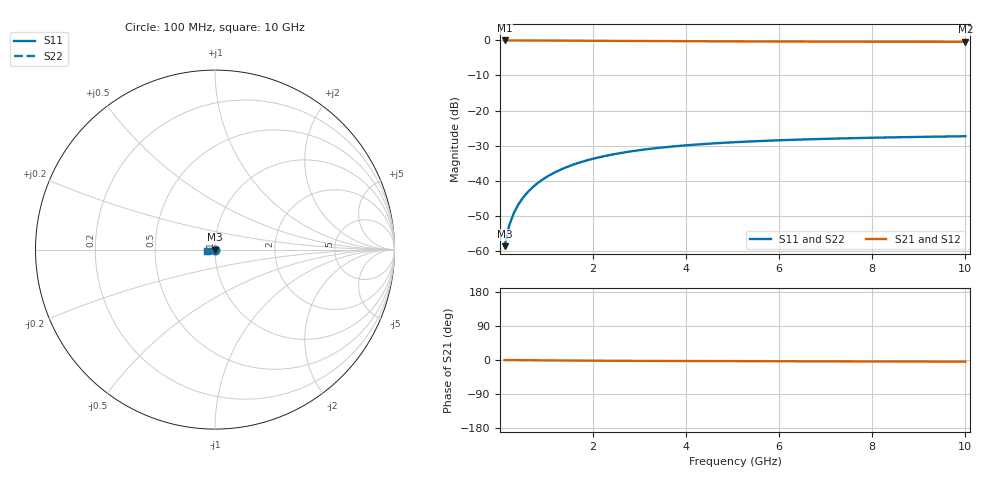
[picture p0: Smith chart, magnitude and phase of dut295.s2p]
! Touchstone file exported from HFSS 2024.1.0
!  File:  C:/UserFiles/LocalFiles/RDL_TSV_Batchsim/temp_TSV1_295_1779394678.aedt
!  Generated:  04:22:43 AM May 22, 2026
!  Design:  TSV1
!  Project:  temp_TSV1_295_1779394678
!  Setup:  Setup1
!  Solution:  Sweep
! Variables:
!  dtsv = 11.17um
!  hbump = 3um
!  htsv = 65.91um
!  lrdl = 252.1521522um
!  p = 40
!  p1 = 45.47um
!  t = 500um
!  trdl = 3um
!  wrdl = 24.89489489um
# GHz S MA R 50.000000
! Terminal data exported
! Port[1] = TSV22_T1
! Port[2] = TSV22_T2
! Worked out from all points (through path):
!   100 points, 100 MHz to 10 GHz, reference 50 ohm
!   highest |S21| = 0.00 dB at 100 MHz (marker M1); lowest = -0.4 dB at 10 GHz (marker M2)
!   lowest |S11| = -58.7 dB at 100 MHz (marker M3), VSWR 1.00, Z = 50 - j0.116 ohm
!   |S11| at or under -10 dB: start of sweep to end of sweep
!   |S22| runs from -58.7 to -27.3 dB; largest |S21 - S12| = 6e-15
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0.1  0.001158 -86.4  0.9999 -0.1  0.9999 -0.1  0.001158 -86.4
! Gamma 0 0 0 0
! Port Impedance 50 0 50 0
0.2  0.00231 -90.5  0.9997 -0.2  0.9997 -0.2  0.00231 -90.5
0.3  0.003464 -92.9  0.9996 -0.3  0.9996 -0.3  0.003464 -92.9
0.4  0.004613 -94.9  0.9993 -0.4  0.9993 -0.4  0.004613 -94.9
0.5  0.005755 -96.8  0.999 -0.5  0.999 -0.5  0.005755 -96.8
0.6  0.006886 -98.6  0.9986 -0.6  0.9986 -0.6  0.006886 -98.6
0.7  0.008002 -100.3  0.9982 -0.7  0.9982 -0.7  0.008002 -100.3
0.8  0.009101 -102.0  0.9978 -0.8  0.9978 -0.8  0.009101 -102.0
0.9  0.01018 -103.7  0.9972 -0.9  0.9972 -0.9  0.01018 -103.7
1.1  0.01228 -106.8  0.9961 -1.1  0.9961 -1.1  0.01228 -106.8
1.4  0.01525 -111.4  0.9941 -1.4  0.9941 -1.4  0.01525 -111.4
1.6  0.0171 -114.3  0.9926 -1.5  0.9926 -1.5  0.0171 -114.3
1.8  0.01884 -117.0  0.9911 -1.7  0.9911 -1.7  0.01884 -117.0
2.1  0.02126 -120.9  0.9888 -1.9  0.9888 -1.9  0.02126 -120.9
2.5  0.02412 -125.7  0.9857 -2.1  0.9857 -2.1  0.02412 -125.7
2.9  0.0266 -130.0  0.9827 -2.3  0.9827 -2.3  0.0266 -130.0
3.4  0.02924 -134.8  0.9792 -2.5  0.9792 -2.5  0.02924 -134.8
4.2  0.0326 -141.4  0.9743 -2.8  0.9743 -2.8  0.0326 -141.4
5.1  0.03544 -147.5  0.9698 -3.1  0.9698 -3.1  0.03544 -147.5
6.7  0.03892 -156.1  0.964 -3.5  0.964 -3.5  0.03892 -156.1
8.4  0.04134 -163.1  0.9598 -3.9  0.9598 -3.9  0.04134 -163.1
10  0.04294 -168.5  0.957 -4.3  0.957 -4.3  0.04294 -168.5
